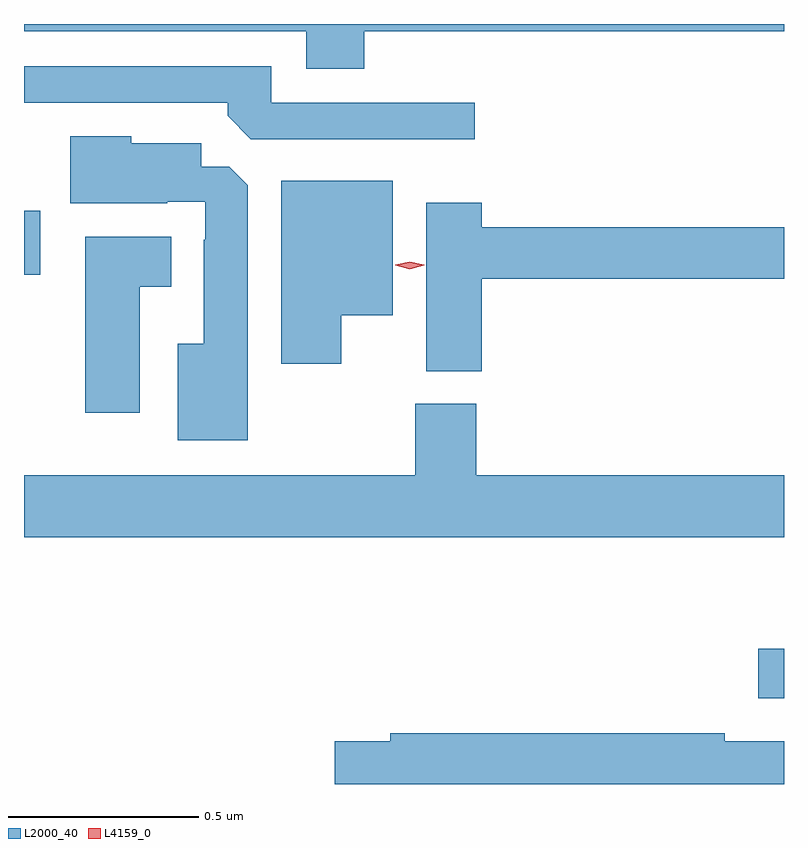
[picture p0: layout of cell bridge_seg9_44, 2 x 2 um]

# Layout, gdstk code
import gdstk
lib = gdstk.Library(unit=1e-6, precision=1e-09)
def R(c, l, rs):  # rectangles x0, y0, x1, y1
    for r in rs: c.add(gdstk.rectangle(r[:2], r[2:], *l))
def P(c, l, *ps):  # polygons
    for p in ps: c.add(gdstk.Polygon(p, *l))
L2000_40 = (2000, 40)
L4159_0 = (4159, 0)

bridge_seg9_44 = lib.new_cell('bridge_seg9_44')
R(bridge_seg9_44, L2000_40, [(917.916,1209.317,917.984,1209.447), (915.984,1210.431,916.027,1210.6)])
P(bridge_seg9_44, L2000_40, [(916.88,1211.072),(917.984,1211.072),(917.984,1211.091),(915.984,1211.091),(915.984,1211.072),(916.727,1211.072),(916.727,1210.973),(916.88,1210.973)],
  [(917.17,1210.884),(916.635,1210.884),(916.635,1210.98),(915.984,1210.98),(915.984,1210.884),(916.52,1210.884),(916.52,1210.85),(916.581,1210.788),(917.17,1210.788)],
  [(916.573,1210.667),(916.524,1210.716),(916.45,1210.716),(916.45,1210.777),(916.266,1210.777),(916.266,1210.795),(916.106,1210.795),(916.106,1210.619),(916.361,1210.619),(916.361,1210.623),(916.461,1210.623),(916.461,1210.523),(916.457,1210.523),(916.457,1210.249),(916.388,1210.249),(916.388,1209.995),(916.573,1209.995)],
  [(916.819,1210.325),(916.954,1210.325),(916.954,1210.678),(916.661,1210.678),(916.661,1210.197),(916.819,1210.197)],
  [(917.189,1210.42),(917.984,1210.42),(917.984,1210.556),(917.189,1210.556),(917.189,1210.621),(917.042,1210.621),(917.042,1210.177),(917.189,1210.177)],
  [(916.288,1210.4),(916.372,1210.4),(916.372,1210.531),(916.145,1210.531),(916.145,1210.068),(916.288,1210.068)],
  [(917.984,1209.904),(917.174,1209.904),(917.174,1210.092),(917.014,1210.092),(917.014,1209.904),(915.984,1209.904),(915.984,1209.74),(917.984,1209.74)],
  [(917.984,1209.204),(917.828,1209.204),(917.828,1209.224),(916.948,1209.224),(916.948,1209.204),(916.802,1209.204),(916.802,1209.091),(917.984,1209.091)])
P(bridge_seg9_44, L4159_0, [(916.999,1210.446),(916.961,1210.456),(916.961,1210.456),(916.961,1210.457),(916.999,1210.466),(917.037,1210.457),(917.037,1210.456),(917.037,1210.456)])

lib.write_gds('bridge_seg9_44.gds')
